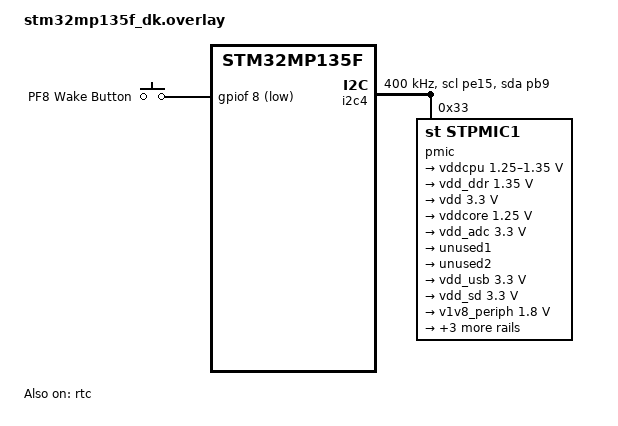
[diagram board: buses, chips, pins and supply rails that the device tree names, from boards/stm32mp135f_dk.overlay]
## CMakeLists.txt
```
cmake_minimum_required(VERSION 3.20.0)
find_package(Zephyr REQUIRED HINTS $ENV{ZEPHYR_BASE})
project(cleanTry)

target_include_directories(app PRIVATE
	${CMAKE_CURRENT_SOURCE_DIR}/drivers
  ${CMAKE_CURRENT_SOURCE_DIR}/../../modules/hal/stm32/stm32cube/stm32mp13xx/drivers/include
)

target_sources(app PRIVATE
  src/main.c
  src/sysram.c
  src/wakeup_sources.c
  drivers/pmic_lp.c
  drivers/stpmic1.c
)

zephyr_linker_sources(SECTIONS sysram.ld)
```

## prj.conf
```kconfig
# Intentionally minimal config.
# Enable I2C support
CONFIG_GPIO=y
CONFIG_I2C=y
CONFIG_RTC=y
CONFIG_RTC_ALARM=y
CONFIG_TICKLESS_KERNEL=y

# Enable serial console for debug output
CONFIG_SERIAL=y
CONFIG_UART_INTERRUPT_DRIVEN=n
CONFIG_CONSOLE=y
CONFIG_UART_CONSOLE=y
CONFIG_STDOUT_CONSOLE=y
CONFIG_PRINTK=y
CONFIG_PM=y
```

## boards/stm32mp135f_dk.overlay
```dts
/* SPDX-License-Identifier: Apache-2.0 */

#include <zephyr/dt-bindings/input/input-event-codes.h>

/ {
	gpio_keys {
		compatible = "gpio-keys";
		wakeup-source;

		pf8_wakeup_button: button {
			label = "PF8 Wake Button";
			gpios = <&gpiof 8 GPIO_ACTIVE_LOW>;
			zephyr,code = <INPUT_KEY_0>;
		};
	};

	aliases {
		sw0 = &pf8_wakeup_button;
	};
};

&i2c4 {
	pinctrl-names = "default";
	pinctrl-0 = <&i2c4_scl_pe15 &i2c4_sda_pb9>;
	scl-gpios = <&gpioe 15 GPIO_ACTIVE_HIGH>;
	sda-gpios = <&gpiob 9 GPIO_ACTIVE_HIGH>;
	clock-frequency = <400000>;
	status = "okay";

	pmic: pmic@33 {
		compatible = "st,stpmic1";
		reg = <0x33>;
		status = "okay";

		regulators {
			compatible = "st,stpmic1-regulators";

			/* BUCK1 — vddcpu: CPU core supply */
			vddcpu: buck1 {
				regulator-name = "vddcpu";
				regulator-min-microvolt = <1250000>;
				regulator-max-microvolt = <1350000>;
				regulator-always-on;
				regulator-over-current-protection;

				lp-stop {
					regulator-suspend-microvolt = <1250000>;
				};
				lplv-stop {
					regulator-suspend-microvolt = <900000>;
				};
				lplv-stop2 {
					regulator-off-in-suspend;
				};
				standby-ddr-sr {
					regulator-off-in-suspend;
				};
				standby-ddr-off {
					regulator-off-in-suspend;
				};
			};

			/* BUCK2 — vdd_ddr: DDR memory supply */
			vdd_ddr: buck2 {
				regulator-name = "vdd_ddr";
				regulator-min-microvolt = <1350000>;
				regulator-max-microvolt = <1350000>;
				regulator-always-on;
				regulator-over-current-protection;

				standby-ddr-off {
					regulator-off-in-suspend;
				};
			};

			/* BUCK3 — vdd: main 3.3V supply */
			vdd: buck3 {
				regulator-name = "vdd";
				regulator-min-microvolt = <3300000>;
				regulator-max-microvolt = <3300000>;
				regulator-always-on;
				st,mask-reset;
				regulator-over-current-protection;
			};

			/* BUCK4 — vddcore: core logic supply */
			vddcore: buck4 {
				regulator-name = "vddcore";
				regulator-min-microvolt = <1250000>;
				regulator-max-microvolt = <1250000>;
				regulator-always-on;
				regulator-over-current-protection;

				lplv-stop {
					regulator-suspend-microvolt = <900000>;
				};
				lplv-stop2 {
					regulator-suspend-microvolt = <900000>;
				};
				standby-ddr-sr {
					regulator-off-in-suspend;
				};
				standby-ddr-off {
					regulator-off-in-suspend;
				};
			};

			/* LDO1 — vdd_adc: ADC supply */
			vdd_adc: ldo1 {
				regulator-name = "vdd_adc";
				regulator-min-microvolt = <3300000>;
				regulator-max-microvolt = <3300000>;

				standby-ddr-sr {
					regulator-off-in-suspend;
				};
				standby-ddr-off {
					regulator-off-in-suspend;
				};
			};

			/* LDO2 — unused */
			unused1: ldo2 {
				regulator-name = "ldo2";
			};

			/* LDO3 — unused */
			unused2: ldo3 {
				regulator-name = "ldo3";
			};

			/* LDO4 — vdd_usb: USB supply */
			vdd_usb: ldo4 {
				regulator-name = "vdd_usb";
				regulator-min-microvolt = <3300000>;
				regulator-max-microvolt = <3300000>;

				standby-ddr-sr {
					regulator-off-in-suspend;
				};
				standby-ddr-off {
					regulator-off-in-suspend;
				};
			};

			/* LDO5 — vdd_sd: SD card supply */
			vdd_sd: ldo5 {
				regulator-name = "vdd_sd";
				regulator-min-microvolt = <3300000>;
				regulator-max-microvolt = <3300000>;
				st,regulator-warm-boot-on;

				standby-ddr-sr {
					regulator-off-in-suspend;
				};
				standby-ddr-off {
					regulator-off-in-suspend;
				};
			};

			/* LDO6 — v1v8_periph: 1.8V peripheral supply */
			v1v8_periph: ldo6 {
				regulator-name = "v1v8_periph";
				regulator-min-microvolt = <1800000>;
				regulator-max-microvolt = <1800000>;

				standby-ddr-sr {
					regulator-off-in-suspend;
				};
				standby-ddr-off {
					regulator-off-in-suspend;
				};
			};

			/* VREF_DDR — DDR voltage reference */
			vref_ddr: vref_ddr {
				regulator-name = "vref_ddr";
				regulator-always-on;

				standby-ddr-sr {
					regulator-off-in-suspend;
				};
				standby-ddr-off {
					regulator-off-in-suspend;
				};
			};

			/* BOOST — 5V USB boost */
			bst_out: boost {
				regulator-name = "bst_out";
			};

			/* PWR_SW2 — v3v3_sw: 3.3V switched supply */
			v3v3_sw: pwr_sw2 {
				regulator-name = "v3v3_sw";
				regulator-active-discharge = <1>;
				regulator-min-microvolt = <3300000>;
				regulator-max-microvolt = <3300000>;
			};
		};
	};
};


&rtc {
	wakeup-source;
	status = "okay";
};
```

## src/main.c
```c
#include <stm32mp135fxx_ca7.h>
#include <stm32mp13xx_ll_pwr.h>
#include <stm32mp13xx_ll_rcc.h>
#include <zephyr/kernel.h>
#include <zephyr/sys/printk.h>

#include "sysram.h"
#include "wakeup_sources.h"
static void run_wake_test(void)
{
	int ret;

	printk("\n=== Wake source test ===\n");

	ret = wakeup_sources_init();
	printk("wakeup_sources_init() = %d\n", ret);
	if (ret != 0) {
		return;
	}

	ret = wakeup_sources_arm_rtc_alarm(2U);
	printk("wakeup_sources_arm_rtc_alarm(2) = %d\n", ret);
	if (ret != 0) {
		return;
	}

	printk("rtc pending before wait = %u\n",
	       (unsigned int)wakeup_sources_rtc_pending());

	wakeup_sources_mask_known_irqs();


	printk("entering SYSRAM DDR run\n");
	sysram_init();
	sysram_run();

	printk("returned from SYSRAM DDR run\n");

	wakeup_sources_unmask_known_irqs();

	printk("rtc pending after wait = %u\n",
	       (unsigned int)wakeup_sources_rtc_pending());
	printk("rtc fired = %u\n",
	       (unsigned int)wakeup_sources_rtc_fired());
	printk("button fired = %u\n",
	       (unsigned int)wakeup_sources_button_fired());

	wakeup_sources_clear_rtc_alarm();

	printk("\n=== Test completed! Continuing normal execution... ===\n");
}

int main(void)
{
	run_wake_test();

	while (1) {
		k_msleep(1000);
	}

	return 0;
}
```

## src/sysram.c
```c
#include <stdint.h>
#include <string.h>

#include <stm32mp135fxx_ca7.h>
#include <stm32mp13xx_ll_pwr.h>
#include <stm32mp13xx_ll_rcc.h>
#include <zephyr/kernel.h>

#include "sysram.h"

#define SYSRAM_START 0x2FFE0000U
#define SYSRAM_END   0x30000000U

#define DDRCTRL_BASE_ADDR  0x5A003000U
#define DDRPHYC_BASE_ADDR  0x5A004000U
#define PWR_BASE_ADDR      0x50001000U

#define DDRCTRL_STAT_OFFSET    0x004U
#define DDRCTRL_PWRCTL_OFFSET  0x030U
#define DDRPHYC_ZQ0CR0_OFFSET  0x180U
#define PWR_CR3_OFFSET         0x00CU

#define DDRCTRL_STAT_OPERATING_MODE_NML  0x00000001U
#define DDRCTRL_STAT_OPERATING_MODE_SR   0x00000003U
#define DDRCTRL_STAT_SELFREF_TYPE_SW     0x00000020U

#ifndef DDRCTRL_STAT_OPERATING_MODE_Msk
#define DDRCTRL_STAT_OPERATING_MODE_Msk  0x00000007U
#endif

#ifndef DDRCTRL_STAT_SELFREF_TYPE_Msk
#define DDRCTRL_STAT_SELFREF_TYPE_Msk    0x00000030U
#endif

#ifndef DDRCTRL_PWRCTL_SELFREF_SW
#define DDRCTRL_PWRCTL_SELFREF_SW        0x00000020U
#endif

#ifndef DDRCTRL_PWRCTL_SELFREF_EN
#define DDRCTRL_PWRCTL_SELFREF_EN        0x00000001U
#endif

#ifndef DDRCTRL_PWRCTL_EN_DFI_DRAM_CLK_DISABLE
#define DDRCTRL_PWRCTL_EN_DFI_DRAM_CLK_DISABLE 0x00000008U
#endif

#ifndef DDRPHYC_ZQ0CR0_ZDATA_Msk
#define DDRPHYC_ZQ0CR0_ZDATA_Msk         0x000FFFFFU
#endif

#ifndef PWR_CR3_DDRSREN
#define PWR_CR3_DDRSREN                  0x00010000U
#endif

#ifndef PWR_CR3_DDRRETEN
#define PWR_CR3_DDRRETEN                 0x00020000U
#endif

/* GPIO A LED control (LD3 is active-low on pin 14). */
#define GPIOA_BASE_ADDR   0x50002000U
#define GPIO_MODER_OFFSET 0x00U
#define GPIO_OTYPER_OFFSET 0x04U
#define GPIO_PUPDR_OFFSET 0x0CU
#define GPIO_BSRR_OFFSET  0x18U
#define LED_PIN           14U
#define LED_PIN_MASK      (1U << LED_PIN)

#define STUB_WAIT_TIMEOUT      50000000U
#define BLINK_HALF_PERIOD_NOPS 200000U

extern uint8_t __sysram_text_start[];
extern uint8_t __sysram_text_end[];
extern uint8_t __sysram_text_load_start[];

__attribute__((section(".sysram_bss")))
static struct ddr_sr_result sysram_result;

__attribute__((section(".sysram_bss"), aligned(8)))
static uint8_t sysram_stack[1024];

static inline uint32_t mmio_read32(uint32_t addr)
{
	return *(volatile uint32_t *)addr;
}

static inline void mmio_write32(uint32_t addr, uint32_t val)
{
	*(volatile uint32_t *)addr = val;
}

static inline void mmio_set_bits32(uint32_t addr, uint32_t mask)
{
	mmio_write32(addr, mmio_read32(addr) | mask);
}

static inline void mmio_clear_bits32(uint32_t addr, uint32_t mask)
{
	mmio_write32(addr, mmio_read32(addr) & ~mask);
}

static HAL_StatusTypeDef ddr_sr_mode_ssr(void)
{
	const uint32_t pwrctl_addr = DDRCTRL_BASE_ADDR + DDRCTRL_PWRCTL_OFFSET;

	/* SW mode in HAL: no auto self-refresh and no clock-disable LP mode. */
	mmio_clear_bits32(pwrctl_addr,
			      DDRCTRL_PWRCTL_EN_DFI_DRAM_CLK_DISABLE |
			      DDRCTRL_PWRCTL_SELFREF_EN);

	return HAL_OK;
}

static HAL_StatusTypeDef ddr_sr_mode_asr(void)
{
	const uint32_t pwrctl_addr = DDRCTRL_BASE_ADDR + DDRCTRL_PWRCTL_OFFSET;

	/* ASR mode in HAL: auto self-refresh + clock-disable LP mode. */
	mmio_set_bits32(pwrctl_addr,
		    DDRCTRL_PWRCTL_EN_DFI_DRAM_CLK_DISABLE |
		    DDRCTRL_PWRCTL_SELFREF_EN);

	return HAL_OK;
}

static HAL_StatusTypeDef ddr_sr_mode_hsr(void)
{
	const uint32_t pwrctl_addr = DDRCTRL_BASE_ADDR + DDRCTRL_PWRCTL_OFFSET;

	/* HSR mode in HAL: clock-disable LP mode enabled, auto self-refresh disabled. */
	mmio_set_bits32(pwrctl_addr, DDRCTRL_PWRCTL_EN_DFI_DRAM_CLK_DISABLE);
	mmio_clear_bits32(pwrctl_addr, DDRCTRL_PWRCTL_SELFREF_EN);

	return HAL_OK;
}

static HAL_DDR_SelfRefreshModeTypeDef ddr_sr_read_mode(void)
{
	const uint32_t pwrctl_addr = DDRCTRL_BASE_ADDR + DDRCTRL_PWRCTL_OFFSET;
	uint32_t pwrctl = mmio_read32(pwrctl_addr);

	switch (pwrctl & (DDRCTRL_PWRCTL_EN_DFI_DRAM_CLK_DISABLE |
				 DDRCTRL_PWRCTL_SELFREF_EN)) {
	case 0U:
		return HAL_DDR_SW_SELF_REFRESH_MODE;
	case DDRCTRL_PWRCTL_EN_DFI_DRAM_CLK_DISABLE:
		return HAL_DDR_HW_SELF_REFRESH_MODE;
	case DDRCTRL_PWRCTL_EN_DFI_DRAM_CLK_DISABLE | DDRCTRL_PWRCTL_SELFREF_EN:
		return HAL_DDR_AUTO_SELF_REFRESH_MODE;
	default:
		return HAL_DDR_INVALID_MODE;
	}
}

/* HAL-like helper: enter software self-refresh and wait for status transition. */
static HAL_StatusTypeDef ddr_sw_self_refresh_in(void)
{
	uint32_t stat;
	uint32_t timeout;
	const uint32_t pwrctl_addr = DDRCTRL_BASE_ADDR + DDRCTRL_PWRCTL_OFFSET;
	const uint32_t stat_addr = DDRCTRL_BASE_ADDR + DDRCTRL_STAT_OFFSET;

	mmio_set_bits32(pwrctl_addr, DDRCTRL_PWRCTL_SELFREF_SW);

	timeout = STUB_WAIT_TIMEOUT;
	do {
		stat = mmio_read32(stat_addr);
		if (((stat & DDRCTRL_STAT_OPERATING_MODE_Msk) == DDRCTRL_STAT_OPERATING_MODE_SR) &&
		    ((stat & DDRCTRL_STAT_SELFREF_TYPE_Msk) == DDRCTRL_STAT_SELFREF_TYPE_SW)) {
			return HAL_OK;
		}
	} while (--timeout != 0U);

	return HAL_TIMEOUT;
}

/* HAL-like helper: clear software self-refresh request and wait for normal mode. */
static HAL_StatusTypeDef ddr_sw_self_refresh_out(void)
{
	uint32_t stat;
	uint32_t timeout;
	const uint32_t pwrctl_addr = DDRCTRL_BASE_ADDR + DDRCTRL_PWRCTL_OFFSET;
	const uint32_t stat_addr = DDRCTRL_BASE_ADDR + DDRCTRL_STAT_OFFSET;

	mmio_clear_bits32(pwrctl_addr, DDRCTRL_PWRCTL_SELFREF_SW);

	timeout = STUB_WAIT_TIMEOUT;
	do {
		stat = mmio_read32(stat_addr);
		if ((stat & DDRCTRL_STAT_OPERATING_MODE_Msk) == DDRCTRL_STAT_OPERATING_MODE_NML) {
			return HAL_OK;
		}
	} while (--timeout != 0U);

	return HAL_TIMEOUT;
}

/* Copied/adapted from HAL_DDR_SR_Entry. */
static HAL_StatusTypeDef sysram_ddr_sr_entry(uint32_t *zq0cr0_zdata)
{
	if (zq0cr0_zdata != NULL) {
		*zq0cr0_zdata = mmio_read32(DDRPHYC_BASE_ADDR + DDRPHYC_ZQ0CR0_OFFSET) & DDRPHYC_ZQ0CR0_ZDATA_Msk;
	}

	if (ddr_sw_self_refresh_in() != HAL_OK) {
		return HAL_ERROR;
	}

	mmio_set_bits32(PWR_BASE_ADDR + PWR_CR3_OFFSET, PWR_CR3_DDRSREN);

	return HAL_OK;
}

/* Copied/adapted from HAL_DDR_SR_Exit. */
static HAL_StatusTypeDef sysram_ddr_sr_exit(void)
{
	HAL_StatusTypeDef ret;

	ret = ddr_sw_self_refresh_out();
	if (ret != HAL_OK) {
		return ret;
	}

	mmio_clear_bits32(PWR_BASE_ADDR + PWR_CR3_OFFSET, PWR_CR3_DDRRETEN);

	return HAL_OK;
}

/* Copied/adapted from HAL_DDR_SR_SetMode. */
static HAL_StatusTypeDef sysram_ddr_sr_set_mode(HAL_DDR_SelfRefreshModeTypeDef mode)
{
	HAL_StatusTypeDef ret;

	switch (mode) {
	case HAL_DDR_SW_SELF_REFRESH_MODE:
		ret = ddr_sr_mode_ssr();
		break;
	case HAL_DDR_AUTO_SELF_REFRESH_MODE:
		ret = ddr_sr_mode_asr();
		break;
	case HAL_DDR_HW_SELF_REFRESH_MODE:
		ret = ddr_sr_mode_hsr();
		break;
	default:
		ret = HAL_ERROR;
		break;
	}

	return ret;
}

/* Copied/adapted from HAL_DDR_SR_ReadMode. */
static HAL_DDR_SelfRefreshModeTypeDef sysram_ddr_sr_read_mode(void)
{
	return ddr_sr_read_mode();
}

static void led_init(void)
{
	uint32_t moder;
	uint32_t otyper;
	uint32_t pupdr;

	moder = mmio_read32(GPIOA_BASE_ADDR + GPIO_MODER_OFFSET);
	moder &= ~(0x3U << (LED_PIN * 2U));
	moder |= (0x1U << (LED_PIN * 2U));
	mmio_write32(GPIOA_BASE_ADDR + GPIO_MODER_OFFSET, moder);

	otyper = mmio_read32(GPIOA_BASE_ADDR + GPIO_OTYPER_OFFSET);
	otyper &= ~LED_PIN_MASK;
	mmio_write32(GPIOA_BASE_ADDR + GPIO_OTYPER_OFFSET, otyper);

	pupdr = mmio_read32(GPIOA_BASE_ADDR + GPIO_PUPDR_OFFSET);
	pupdr &= ~(0x3U << (LED_PIN * 2U));
	mmio_write32(GPIOA_BASE_ADDR + GPIO_PUPDR_OFFSET, pupdr);

	/* Active-low LED off. */
	mmio_write32(GPIOA_BASE_ADDR + GPIO_BSRR_OFFSET, LED_PIN_MASK);
}

static void copy_sysram_sections(void)
{
	size_t size;

	size = (size_t)(__sysram_text_end - __sysram_text_start);
	memcpy(__sysram_text_start, __sysram_text_load_start, size);
}

__attribute__((section(".sysram_text"), noinline, used))
void sysram_configure_lpstop(void)
{
	PWR->MPUCR |= PWR_MPUCR_CSSF;
	PWR->MPUCR &= ~PWR_MPUCR_PDDS;

	PWR->CR1 |= PWR_CR1_LPDS;
	PWR->CR1 &= ~PWR_CR1_STOP2;
	PWR->CR1 &= ~PWR_CR1_LVDS;

	RCC->MP_SREQSETR |= RCC_MP_SREQSETR_STPREQ_P0;

	k_cpu_idle();
}

__attribute__((section(".sysram_text"), noinline, used))
static void ddr_sr_stub(struct ddr_sr_result *result)
{
	uint32_t stat;
	HAL_StatusTypeDef ret;
	const uint32_t stat_addr = DDRCTRL_BASE_ADDR + DDRCTRL_STAT_OFFSET;
	const uint32_t gpioa_bsrr_addr = GPIOA_BASE_ADDR + GPIO_BSRR_OFFSET;

	result->started = 1U;
	result->phase = 1U;

	if (sysram_ddr_sr_set_mode(HAL_DDR_SW_SELF_REFRESH_MODE) != HAL_OK) {
		result->phase = 0xE0U;
		return;
	}

	if (sysram_ddr_sr_read_mode() != HAL_DDR_SW_SELF_REFRESH_MODE) {
		result->phase = 0xE4U;
		return;
	}

	ret = sysram_ddr_sr_entry(&result->zdata);
	result->phase = 2U;
	stat = mmio_read32(stat_addr);
	result->entry_stat = stat;
	result->entry_ok = (ret == HAL_OK) ? 1U : 0U;
	if (!result->entry_ok) {
		result->phase = 0xE1U;
		return;
	}

	result->phase = 3U;

	for (uint32_t blink_count = 0U; blink_count < 10U; blink_count++) {
		mmio_write32(gpioa_bsrr_addr, LED_PIN_MASK << 16);
		for (volatile uint32_t delay = 0U; delay < BLINK_HALF_PERIOD_NOPS; delay++) {
			__asm__ volatile("nop");
		}

		mmio_write32(gpioa_bsrr_addr, LED_PIN_MASK);
		for (volatile uint32_t delay = 0U; delay < BLINK_HALF_PERIOD_NOPS; delay++) {
			__asm__ volatile("nop");
		}
	}

	sysram_configure_lpstop();

	ret = sysram_ddr_sr_exit();
	result->phase = 4U;
	stat = mmio_read32(stat_addr);
	result->exit_stat = stat;
	result->exit_ok = (ret == HAL_OK) ? 1U : 0U;
	if (!result->exit_ok) {
		result->phase = 0xE2U;
		result->finished = 1U;
		return;
	}

	result->phase = 5U;
	result->finished = 1U;
}

void sysram_init(void)
{
	led_init();
	copy_sysram_sections();
	__asm__ volatile("dsb" ::: "memory");
	__asm__ volatile("isb" ::: "memory");
	memset(&sysram_result, 0, sizeof(sysram_result));
}

__attribute__((section(".sysram_text"), noinline, used))
void sysram_run(void)
{
	register uintptr_t old_sp;
	uintptr_t new_sp = (uintptr_t)(sysram_stack + sizeof(sysram_stack));

	__asm__ volatile("mov %0, sp" : "=r"(old_sp));
	__asm__ volatile("mov sp, %0" : : "r"(new_sp) : "memory");

	ddr_sr_stub(&sysram_result);

	__asm__ volatile("mov sp, %0" : : "r"(old_sp) : "memory");
}

const struct ddr_sr_result *sysram_get_result(void)
{
	return &sysram_result;
}

uintptr_t sysram_get_stub_addr(void)
{
	return (uintptr_t)ddr_sr_stub & ~(uintptr_t)0x1U;
}

uintptr_t sysram_get_result_addr(void)
{
	return (uintptr_t)&sysram_result;
}

uintptr_t sysram_get_stack_addr(void)
{
	return (uintptr_t)sysram_stack;
}

size_t sysram_get_text_size(void)
{
	return (size_t)(__sysram_text_end - __sysram_text_start);
}
```

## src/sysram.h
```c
#pragma once

#include <stddef.h>
#include <stdint.h>

struct ddr_sr_result {
	uint32_t started;
	uint32_t phase;
	uint32_t finished;
	uint32_t zdata;
	uint32_t entry_stat;
	uint32_t exit_stat;
	uint32_t entry_ok;
	uint32_t exit_ok;
};

void sysram_init(void);
void sysram_run(void);
void sysram_configure_lpstop(void);

const struct ddr_sr_result *sysram_get_result(void);
uintptr_t sysram_get_stub_addr(void);
uintptr_t sysram_get_result_addr(void);
uintptr_t sysram_get_stack_addr(void);
size_t sysram_get_text_size(void);
```

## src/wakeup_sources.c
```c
#include "wakeup_sources.h"

#include <errno.h>
#include <stdbool.h>
#include <time.h>

#include <zephyr/arch/arm/irq.h>
#include <zephyr/device.h>
#include <zephyr/devicetree.h>
#include <zephyr/drivers/gpio.h>
#include <zephyr/drivers/rtc.h>
#include <zephyr/kernel.h>
#include <zephyr/sys/timeutil.h>

#define WAKEBTN_NODE DT_ALIAS(sw0)
#define WAKELED_NODE DT_ALIAS(led0)
#define RTC_NODE DT_NODELABEL(rtc)
#define WAKE_TEST_MASKED_IRQ 27U

BUILD_ASSERT(DT_NODE_EXISTS(WAKEBTN_NODE), "sw0 alias must be present");
BUILD_ASSERT(DT_NODE_EXISTS(WAKELED_NODE), "led0 alias must be present");
BUILD_ASSERT(DT_NODE_HAS_STATUS(RTC_NODE, okay), "RTC node must be enabled");

static const struct device *const rtc_dev = DEVICE_DT_GET(RTC_NODE);
static const struct gpio_dt_spec wake_button = GPIO_DT_SPEC_GET(WAKEBTN_NODE, gpios);
static const struct gpio_dt_spec wake_led = GPIO_DT_SPEC_GET(WAKELED_NODE, gpios);
static struct gpio_callback wake_button_cb;
static volatile bool wake_button_event;
static volatile bool rtc_alarm_event;
static bool rtc_alarm_armed;

void wakeup_sources_mask_known_irqs(void)
{
	irq_disable(WAKE_TEST_MASKED_IRQ);
}

void wakeup_sources_unmask_known_irqs(void)
{
	irq_enable(WAKE_TEST_MASKED_IRQ);
}

static void rtc_alarm_cb(const struct device *dev, uint16_t id, void *user_data)
{
	ARG_UNUSED(dev);
	ARG_UNUSED(id);
	ARG_UNUSED(user_data);

	printk("rtc wake interrupt\n");
	if (device_is_ready(wake_led.port)) {
		(void)gpio_pin_toggle_dt(&wake_led);
	}

	rtc_alarm_event = true;
	rtc_alarm_armed = false;
}

static void wake_button_cb_fn(const struct device *dev, struct gpio_callback *cb, uint32_t pins)
{
	ARG_UNUSED(dev);
	ARG_UNUSED(cb);
	ARG_UNUSED(pins);

	if (device_is_ready(wake_led.port)) {
		(void)gpio_pin_toggle_dt(&wake_led);
	}

	printk("button wake interrupt\n");
	wake_button_event = true;
}

static int wake_button_prepare(void)
{
	int ret;

	if (!device_is_ready(wake_button.port)) {
		return -ENODEV;
	}

	if (!device_is_ready(wake_led.port)) {
		return -ENODEV;
	}

	ret = gpio_pin_configure_dt(&wake_button, GPIO_INPUT);
	if (ret != 0) {
		return ret;
	}

	ret = gpio_pin_configure_dt(&wake_led, GPIO_OUTPUT_INACTIVE);
	if (ret != 0) {
		return ret;
	}

	gpio_init_callback(&wake_button_cb, wake_button_cb_fn, BIT(wake_button.pin));
	ret = gpio_add_callback(wake_button.port, &wake_button_cb);
	if (ret != 0) {
		return ret;
	}

	ret = gpio_pin_interrupt_configure_dt(&wake_button, GPIO_INT_EDGE_TO_ACTIVE);
	if (ret != 0) {
		(void)gpio_remove_callback(wake_button.port, &wake_button_cb);
		return ret;
	}

	return 0;
}

int wakeup_sources_button_set_enabled(bool enabled)
{
	if (!device_is_ready(wake_button.port)) {
		return -ENODEV;
	}

	return gpio_pin_interrupt_configure_dt(&wake_button,
					      enabled ? GPIO_INT_EDGE_TO_ACTIVE : GPIO_INT_DISABLE);
}

static int rtc_alarm_prepare(void)
{
	int ret;

	if (!device_is_ready(rtc_dev)) {
		return -ENODEV;
	}

	ret = rtc_alarm_set_time(rtc_dev, 0, 0, NULL);
	if (ret != 0) {
		return ret;
	}

	ret = rtc_alarm_set_callback(rtc_dev, 0, rtc_alarm_cb, NULL);
	if (ret != 0) {
		return ret;
	}

	wake_button_event = false;
	rtc_alarm_event = false;
	rtc_alarm_armed = false;

	return 0;
}

static int rtc_seed_time(void)
{
	static const struct rtc_time seed_time = {
		.tm_sec = 0,
		.tm_min = 0,
		.tm_hour = 0,
		.tm_mday = 1,
		.tm_mon = 0,
		.tm_year = 126,
		.tm_wday = 4,
		.tm_yday = 0,
		.tm_isdst = 0,
		.tm_nsec = 0,
	};

	return rtc_set_time(rtc_dev, &seed_time);
}

int wakeup_sources_init(void)
{
	int ret;

	ret = wake_button_prepare();
	if (ret != 0) {
		return ret;
	}

	return rtc_alarm_prepare();
}

int wakeup_sources_arm_rtc_alarm(unsigned int seconds)
{
	struct rtc_time now;
	struct rtc_time alarm;
	struct tm alarm_tm;
	int ret;

	if (!device_is_ready(rtc_dev)) {
		return -ENODEV;
	}

	wake_button_event = false;
	rtc_alarm_event = false;

	ret = rtc_alarm_set_callback(rtc_dev, 0, rtc_alarm_cb, NULL);
	if (ret != 0) {
		return ret;
	}

	ret = rtc_get_time(rtc_dev, &now);
	if (ret == -ENODATA) {
		ret = rtc_seed_time();
		if (ret != 0) {
			return ret;
		}

		ret = rtc_get_time(rtc_dev, &now);
	}
	if (ret != 0) {
		return ret;
	}

	int64_t epoch = timeutil_timegm64(rtc_time_to_tm(&now));
	if (epoch < 0) {
		return -EINVAL;
	}

	time_t alarm_epoch = (time_t)(epoch + seconds);
	if (gmtime_r(&alarm_epoch, &alarm_tm) == NULL) {
		return -EINVAL;
	}

	alarm.tm_sec = alarm_tm.tm_sec;
	alarm.tm_min = alarm_tm.tm_min;
	alarm.tm_hour = alarm_tm.tm_hour;
	alarm.tm_mday = alarm_tm.tm_mday;
	alarm.tm_mon = alarm_tm.tm_mon;
	alarm.tm_year = alarm_tm.tm_year;
	alarm.tm_wday = alarm_tm.tm_wday;
	alarm.tm_yday = alarm_tm.tm_yday;
	alarm.tm_isdst = alarm_tm.tm_isdst;
	alarm.tm_nsec = 0;

	ret = rtc_alarm_set_time(rtc_dev, 0,
				 RTC_ALARM_TIME_MASK_SECOND |
				 RTC_ALARM_TIME_MASK_MINUTE |
				 RTC_ALARM_TIME_MASK_HOUR |
				 RTC_ALARM_TIME_MASK_MONTHDAY,
				 &alarm);
	if (ret == 0) {
		rtc_alarm_armed = true;
		rtc_alarm_event = false;
	}

	return ret;
}

void wakeup_sources_clear_rtc_alarm(void)
{
	if (!rtc_alarm_armed) {
		return;
	}

	(void)rtc_alarm_set_time(rtc_dev, 0, 0, NULL);
	rtc_alarm_armed = false;
}

bool wakeup_sources_button_fired(void)
{
	return wake_button_event;
}

bool wakeup_sources_rtc_fired(void)
{
	return rtc_alarm_event;
}

bool wakeup_sources_rtc_pending(void)
{
	if (!device_is_ready(rtc_dev)) {
		return false;
	}

	return rtc_alarm_is_pending(rtc_dev, 0) > 0;
}
```

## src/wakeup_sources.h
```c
#pragma once

#include <stdbool.h>

int wakeup_sources_init(void);
int wakeup_sources_arm_rtc_alarm(unsigned int seconds);
void wakeup_sources_clear_rtc_alarm(void);
void wakeup_sources_mask_known_irqs(void);
void wakeup_sources_unmask_known_irqs(void);
int wakeup_sources_button_set_enabled(bool enabled);
bool wakeup_sources_button_fired(void);
bool wakeup_sources_rtc_fired(void);
bool wakeup_sources_rtc_pending(void);
```
